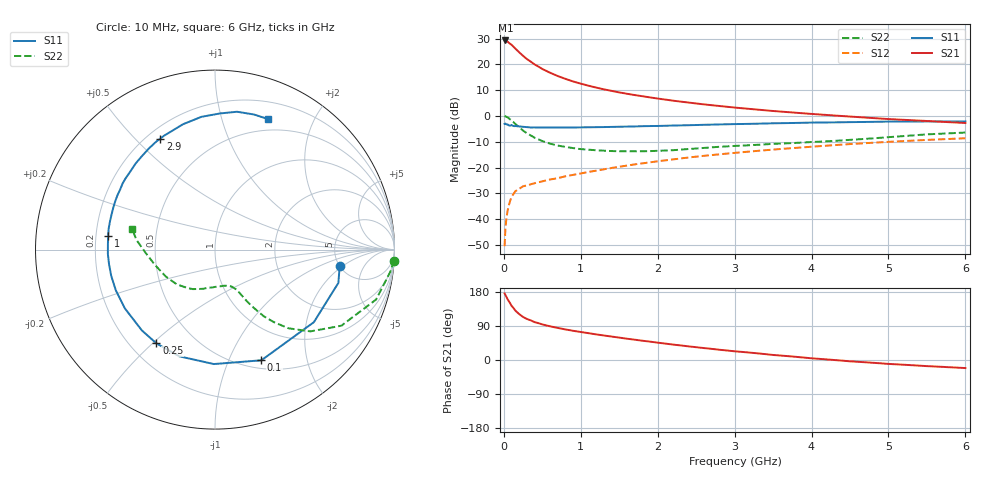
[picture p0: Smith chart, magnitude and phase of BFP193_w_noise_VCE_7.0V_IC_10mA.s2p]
! Infineon Technologies  Discrete & RF Semiconductors
! BFP193
! VCE =  7.0 V,  IC =  10 mA
! Common Emitter S-Parameters:  Jan 2017
# GHz  S  MA  R  50
!  f  S11  S21  S12  S22
! GHz  MAG  ANG  MAG  ANG  MAG  ANG  MAG  ANG
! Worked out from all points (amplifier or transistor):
!   77 points, 10 MHz to 6 GHz, reference 50 ohm
!   highest |S21| = 29.3 dB at 20 MHz (marker M1)
!   |S21| within 3 dB of that: start of sweep to 144.4 MHz
!   unconditionally stable (mu >= 1): 1.16 GHz to 2.559 GHz
!   at 130 MHz: K = 0.23, MSG = 28.3 dB, |S12| = -30.0 dB
!   at 2.2 GHz: K = 1.03, MAG = 10.3 dB, |S12| = -16.8 dB
!   at 6 GHz: K = 0.86, MSG = 3.0 dB, |S12| = -8.6 dB
!   lowest NFmin = 0.87 dB at 450 MHz
!   S11 on the Smith chart (normalised r, x): 10 MHz: 5.00, -1.82; 100 MHz: 0.59, -1.33; 250 MHz: 0.31, -0.51; 1 GHz: 0.25, +0.06; 2.9 GHz: 0.25, +0.59; 6 GHz: 0.38, +1.42
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0.01  0.7008 -7.6  28.93 175.7  0.003 84.2  0.9981 -3.5
0.02  0.712 -15.1  29.01 171.7  0.0064 82.0  0.9847 -7.2
0.05  0.6833 -36.3  27.43 159.8  0.0149 71.6  0.9397 -17.2
0.1  0.6687 -67.3  23.98 143.1  0.027 62.3  0.8226 -31.0
0.15  0.6377 -90.6  20.17 130.3  0.0348 53.3  0.7002 -40.6
0.2  0.627 -108.5  17.07 121.0  0.0388 48.9  0.6008 -46.9
0.25  0.616 -122.0  14.6 113.5  0.0434 45.4  0.5214 -50.9
0.3  0.6073 -132.1  12.64 108.3  0.0451 43.8  0.4604 -53.8
0.4  0.5995 -146.9  9.956 99.9  0.0497 42.7  0.3786 -56.8
0.5  0.5973 -157.6  8.131 93.9  0.0541 43.6  0.3264 -58.7
0.6  0.5965 -165.7  6.883 88.9  0.0587 44.5  0.2909 -59.9
0.7  0.596 -172.1  5.939 84.7  0.0622 46.5  0.2671 -60.9
0.9  0.5973 177.2  4.661 77.1  0.0722 48.5  0.2385 -63.7
1  0.6006 172.7  4.224 73.9  0.0768 49.7  0.2276 -65.4
1.1  0.6039 168.6  3.856 70.8  0.0823 50.6  0.222 -67.1
1.5  0.6176 154.2  2.86 59.1  0.1035 51.9  0.207 -77.5
2.1  0.6453 135.6  2.074 43.3  0.1381 50.7  0.2137 -97.4
2.9  0.6897 116.2  1.506 25.1  0.1865 45.5  0.2572 -122.3
3.1  0.6988 112.0  1.41 21.3  0.1986 43.8  0.2665 -127.7
4.1  0.7456 94.2  1.069 3.0  0.2596 34.7  0.3172 -154.3
5.1  0.778 79.5  0.856 -11.4  0.3203 23.8  0.3977 -179.6
6  0.7849 67.8  0.73 -21.3  0.3697 13.6  0.4769 165.9
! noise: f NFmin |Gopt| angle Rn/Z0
0.45  0.87  0.21  156  0.07
0.9  1  0.35  173  0.06
1.9  1.75  0.57  -146  0.13
2.4  2.13  0.63  -128  0.31
